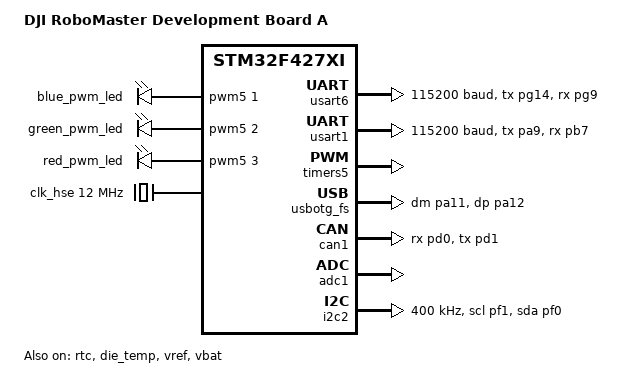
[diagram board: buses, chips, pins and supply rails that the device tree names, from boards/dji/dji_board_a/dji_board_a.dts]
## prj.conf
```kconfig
CONFIG_UART_CONSOLE=y
CONFIG_LOG_BACKEND_UART=y
CONFIG_LOG_SPEED=y
```

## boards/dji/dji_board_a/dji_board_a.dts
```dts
/dts-v1/;
#include <st/f4/stm32f427Xi.dtsi>
#include <st/f4/stm32f427i(e-g)hx-pinctrl.dtsi>
#include <zephyr/dt-bindings/input/input-event-codes.h>
#include <zephyr/dt-bindings/led/led.h>

/ {
	model = "DJI RoboMaster Development Board A";
	compatible = "st";

	chosen {
		zephyr,console = &usart1;
		zephyr,shell-uart = &usart1;
		zephyr,sram = &sram0;
		zephyr,flash = &flash0;
		zephyr,ccm = &ccm0;
		zephyr,canbus = &can1;
	};

	leds: leds {
		compatible = "pwm-leds";

		blue_pwm_led: blue_pwm_led {
			pwms = <&pwm5 1 PWM_USEC(100) PWM_POLARITY_NORMAL>;
		};

		green_pwm_led: green_pwm_led {
			pwms = <&pwm5 2 PWM_USEC(100) PWM_POLARITY_NORMAL>;
		};

		red_pwm_led: red_pwm_led {
			pwms = <&pwm5 3 PWM_USEC(100) PWM_POLARITY_NORMAL>;
		};

	};

	aliases {
		led0 = &blue_pwm_led;
		led1 = &green_pwm_led;
		led2 = &red_pwm_led;
		die-temp0 = &die_temp;
		volt-sensor0 = &vref;
		volt-sensor1 = &vbat;
	};
};

&clk_lsi {
	status = "okay";
};

&clk_hse {
	clock-frequency = <DT_FREQ_M(12)>;
	status = "okay";
};

&pll {
	div-m = <6>;
	mul-n = <168>;
	div-p = <2>;
	div-q = <7>;
	clocks = <&clk_hse>;
	status = "okay";
};

&rcc {
	clocks = <&pll>;
	clock-frequency = <DT_FREQ_M(168)>;
	ahb-prescaler = <1>;
	apb1-prescaler = <4>;
	apb2-prescaler = <2>;
	status = "okay";
};

&usart6 {
	pinctrl-0 = <&usart6_tx_pg14 &usart6_rx_pg9>;
	pinctrl-names = "default";
	current-speed = <115200>;
	dmas = <&dma2 6 (STM32_DMA_PERIPH_TX | STM32_DMA_PRIORITY_HIGH)>,
		   <&dma2 2 (STM32_DMA_PERIPH_RX | STM32_DMA_PRIORITY_HIGH)>;
	dma-names = "tx", "rx";
	status = "okay";
};

&usart1 {
	pinctrl-0 = <&usart1_tx_pa9 &usart1_rx_pb7>;
	pinctrl-names = "default";
	current-speed = <115200>;
	dmas = <&dma2 5 (STM32_DMA_PERIPH_TX | STM32_DMA_PRIORITY_HIGH)>,
		   <&dma2 7 (STM32_DMA_PERIPH_RX | STM32_DMA_PRIORITY_HIGH)>;
	dma-names = "tx", "rx";
	status = "okay";
};

&timers5 {
	status = "okay";

	pwm5: pwm {
		status = "okay";
		pinctrl-0 = <&tim5_ch1_ph10 &tim5_ch2_ph11 &tim5_ch3_ph12>;
		pinctrl-names = "default";
	};
};

&rtc {
	clocks = <&rcc STM32_CLOCK_BUS_APB1 0x10000000>,
			 <&rcc STM32_SRC_LSI RTC_SEL(2)>;
	status = "okay";

	backup_regs {
		status = "okay";
	};
};

zephyr_udc0: &usbotg_fs {
	pinctrl-0 = <&usb_otg_fs_dm_pa11 &usb_otg_fs_dp_pa12>;
	pinctrl-names = "default";
	status = "okay";
};

&can1 {
	pinctrl-0 = <&can1_rx_pd0 &can1_tx_pd1>;
	pinctrl-names = "default";
	status = "okay";
};

&adc1 {
	st,adc-prescaler = <4>;
	status = "okay";
};

&die_temp {
	status = "okay";
};

&vref {
	status = "okay";
};

&vbat {
	status = "okay";
};

&dma1 {
	status = "okay";
};

&dma2 {
	status = "okay";
};

&i2c2 {
	clock-frequency = <I2C_BITRATE_FAST>;
	pinctrl-0 = <&i2c2_scl_pf1 &i2c2_sda_pf0>;
	pinctrl-names = "default";
	status = "okay";
};
```

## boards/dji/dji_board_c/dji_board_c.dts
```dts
/dts-v1/;
#include <st/f4/stm32f407Xg.dtsi>
#include <st/f4/stm32f407i(e-g)hx-pinctrl.dtsi>
#include <zephyr/dt-bindings/input/input-event-codes.h>
#include <zephyr/dt-bindings/led/led.h>

/ {
	model = "DJI RoboMaster Development Board C";
	compatible = "st";

	chosen {
		zephyr,console = &usart1;
		zephyr,shell-uart = &usart1;
		zephyr,sram = &sram0;
		zephyr,flash = &flash0;
		zephyr,ccm = &ccm0;
		zephyr,canbus = &can1;
	};

	pwmleds: pwmleds {
		compatible = "pwm-leds";

		blue_pwm_led: blue_pwm_led {
			pwms = <&pwm5 1 PWM_USEC(100) PWM_POLARITY_NORMAL>;
		};

		green_pwm_led: green_pwm_led {
			pwms = <&pwm5 2 PWM_USEC(100) PWM_POLARITY_NORMAL>;
		};

		red_pwm_led: red_pwm_led {
			pwms = <&pwm5 3 PWM_USEC(100) PWM_POLARITY_NORMAL>;
		};

	};

	aliases {
		pwm-led0 = &blue_pwm_led;
		pwm-led1 = &green_pwm_led;
		pwm-led2 = &red_pwm_led;
		die-temp0 = &die_temp;
		volt-sensor0 = &vref;
		volt-sensor1 = &vbat;
	};
};

&clk_lsi {
	status = "okay";
};

&clk_hse {
	clock-frequency = <DT_FREQ_M(12)>;
	status = "okay";
};

&pll {
	div-m = <6>;
	mul-n = <168>;
	div-p = <2>;
	div-q = <7>;
	clocks = <&clk_hse>;
	status = "okay";
};

&rcc {
	clocks = <&pll>;
	clock-frequency = <DT_FREQ_M(168)>;
	ahb-prescaler = <1>;
	apb1-prescaler = <4>;
	apb2-prescaler = <2>;
	status = "okay";
};

&usart6 {
	pinctrl-0 = <&usart6_tx_pg14 &usart6_rx_pg9>;
	pinctrl-names = "default";
	current-speed = <115200>;
	dmas = <&dma2 6 (STM32_DMA_PERIPH_TX | STM32_DMA_PRIORITY_HIGH)>,
	       <&dma2 2 (STM32_DMA_PERIPH_RX | STM32_DMA_PRIORITY_HIGH)>;
	dma-names = "tx", "rx";
	status = "okay";
};

&usart1 {
	pinctrl-0 = <&usart1_tx_pa9 &usart1_rx_pb7>;
	pinctrl-names = "default";
	current-speed = <115200>;
	dmas = <&dma2 5 (STM32_DMA_PERIPH_TX | STM32_DMA_PRIORITY_HIGH)>,
		   <&dma2 7 (STM32_DMA_PERIPH_RX | STM32_DMA_PRIORITY_HIGH)>;
	dma-names = "tx", "rx";
	status = "okay";
};

&timers5 {
	status = "okay";

	pwm5: pwm {
		status = "okay";
		pinctrl-0 = <&tim5_ch1_ph10 &tim5_ch2_ph11 &tim5_ch3_ph12>;
		pinctrl-names = "default";
	};
};

&rtc {
	clocks = <&rcc STM32_CLOCK_BUS_APB1 0x10000000>,
			 <&rcc STM32_SRC_LSI RTC_SEL(2)>;
	status = "okay";

	backup_regs {
		status = "okay";
	};
};

//zephyr_udc0: &usbotg_fs {
//	pinctrl-0 = <&usb_otg_fs_dm_pa11 &usb_otg_fs_dp_pa12>;
//	pinctrl-names = "default";
//	status = "okay";
//};

&can1 {
	pinctrl-0 = <&can1_rx_pd0 &can1_tx_pd1>;
	pinctrl-names = "default";
	status = "okay";
};

&adc1 {
	st,adc-prescaler = <4>;
	status = "okay";
};

&die_temp {
	status = "okay";
};

&vref {
	status = "okay";
};

&vbat {
	status = "okay";
};

&dma1 {
	status = "okay";
};

&dma2 {
	status = "okay";
};

&i2c2 {
	clock-frequency = <I2C_BITRATE_FAST>;
	pinctrl-0 = <&i2c2_scl_pf1 &i2c2_sda_pf0>;
	pinctrl-names = "default";
	status = "okay";
};
```

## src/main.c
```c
#include <stdio.h>
#include <zephyr/devicetree.h>
#include <zephyr/kernel.h>
#include <zephyr/drivers/gpio.h>
#include <zephyr/drivers/pwm.h>
#include <zephyr/drivers/led.h>
#include <zephyr/logging/log.h>

LOG_MODULE_REGISTER(main, CONFIG_LOG_DEFAULT_LEVEL);

int main(void) {
	int ret = 0;

	const struct device *led_dev = DEVICE_DT_GET(DT_NODELABEL(leds));
	if (!device_is_ready(led_dev)) {
		LOG_ERR("LED设备未就绪\n");
		return 0;
	}
	ret = led_set_brightness(led_dev, 0, 30) ||
	      led_set_brightness(led_dev, 1, 20) ||
	      led_set_brightness(led_dev, 2, 50);
	if (ret) {
		LOG_ERR("设置亮度失败: %d\n", ret);
	}

	while (1) {
		LOG_INF("程序运行中... \n");
		k_sleep(K_SECONDS(1U));

		printk("测试Console\n");
		k_sleep(K_SECONDS(1U));
	}

	return 0;
}
```
